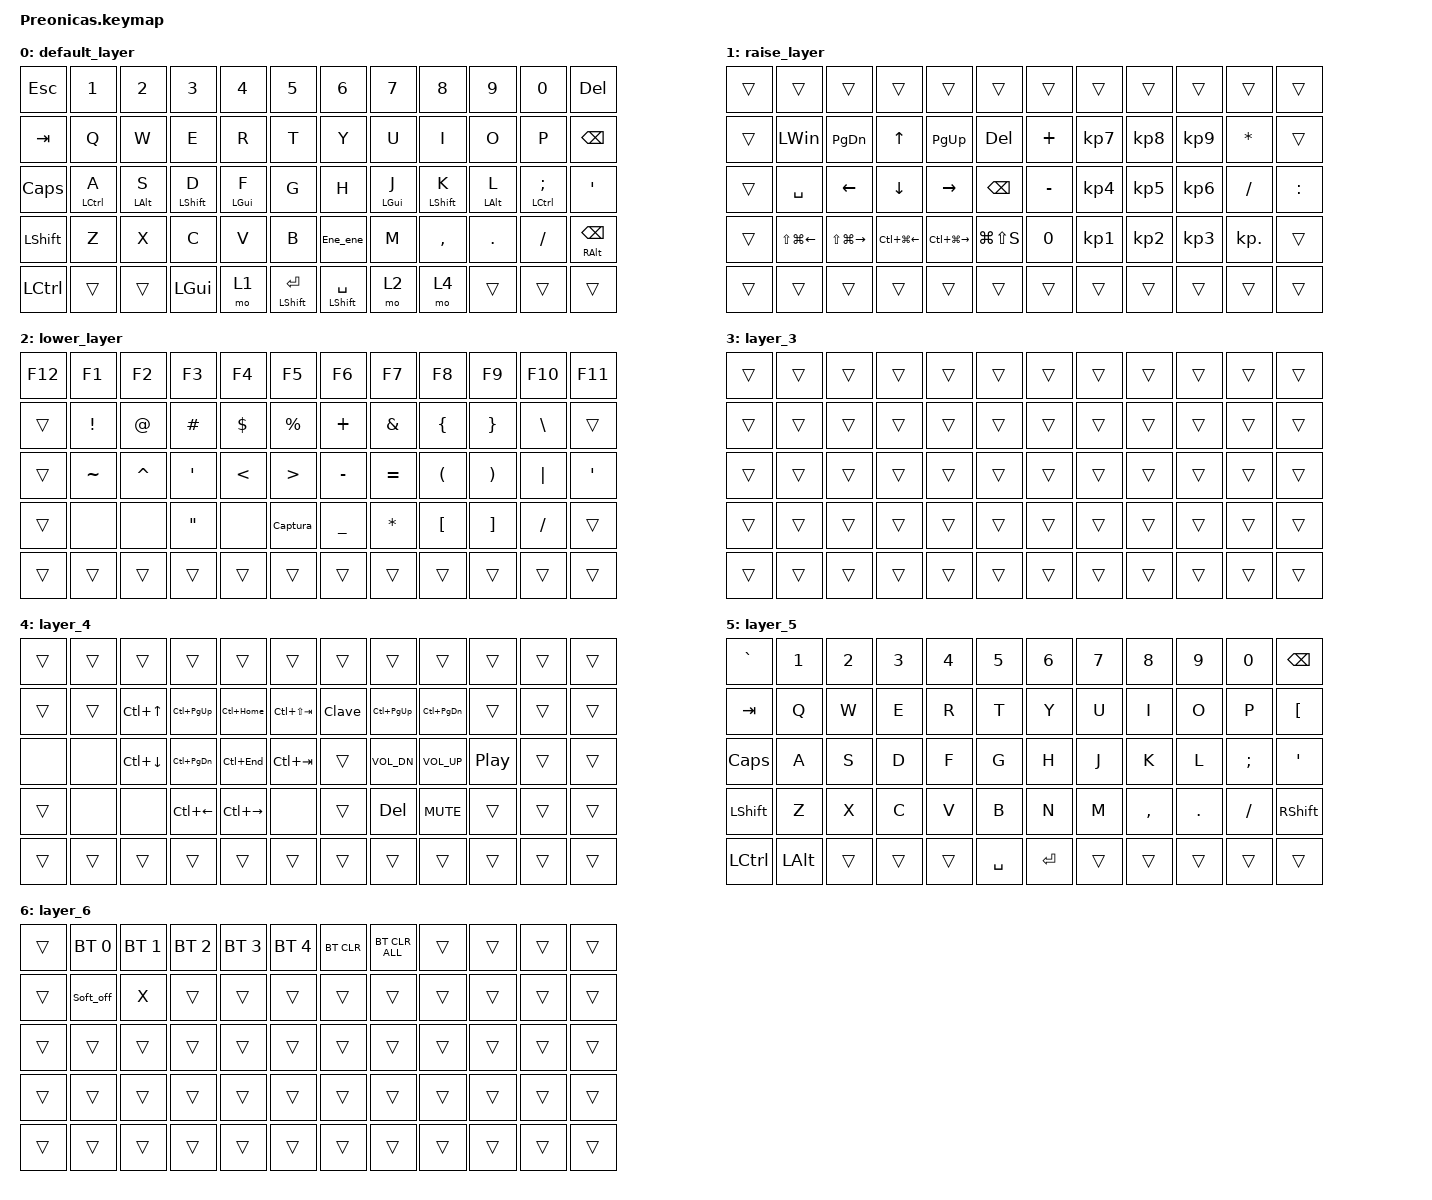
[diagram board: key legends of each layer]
/*
 * Copyright (c) 2021 The ZMK Contributors
 *
 * SPDX-License-Identifier: MIT
 */

#include <behaviors.dtsi>
#include <dt-bindings/zmk/bt.h>
#include <dt-bindings/zmk/keys.h>

&mt {
    tapping-term-ms = <200>;
    quick-tap-ms = <100>;
    bindings = <&kp>, <&kp>;

    flavor = "balanced";
};

/ {
    combos {
        compatible = "zmk,combos";

        Backspace {
            bindings = <&kp BACKSPACE>;
            key-positions = <31 32>;
        };

        Copiar {
            bindings = <&kp LC(C)>;
            key-positions = <14 15>;
        };

        Pegar {
            bindings = <&kp LC(V)>;
            key-positions = <26 27>;
        };

        Cortar {
            bindings = <&kp LC(X)>;
            key-positions = <14 15 16>;
        };

        pegarTex {
            bindings = <&kp LC(LS(V))>;
            key-positions = <26 27 28>;
        };

        Borrar-palabra {
            bindings = <&kp LC(BACKSPACE)>;
            key-positions = <31 32 33>;
        };

        Page-Up {
            bindings = <&kp PAGE_UP>;
            key-positions = <20 21>;
            require-prior-idle-ms = <40>;
        };

        Page-Down {
            bindings = <&kp PAGE_DOWN>;
            key-positions = <44 45>;
            require-prior-idle-ms = <40>;
        };

        Home- {
            bindings = <&kp HOME>;
            key-positions = <19 20 21>;
        };

        End- {
            bindings = <&kp END>;
            key-positions = <43 44 45>;
        };

        delete {
            bindings = <&kp DEL>;
            key-positions = <19 20>;
        };

        togle1 {
            bindings = <&tog 1>;
            key-positions = <13 14 15 16>;
        };
        
        togle5 {
            bindings = <&tog 5>;
            key-positions = <1 2 3 4>;
        };

        Desacer {
            bindings = <&kp LC(Z)>;
            key-positions = <37 38>;
        };

        tabulador {
            bindings = <&kp TAB>;
            key-positions = <27 28>;
        };

        space {
            bindings = <&kp SPACE>;
            key-positions = <39 40>;
        };

    };

    behaviors {
        Ene_ene: Ene_ene {
            compatible = "zmk,behavior-tap-dance";
            label = "ENE_ENE";
            #binding-cells = <0>;
            bindings = <&kp N>, <&kp RA(N)>;
        };

        Hm: Hm {
            compatible = "zmk,behavior-hold-tap";
            label = "HM";
            bindings = <&kp>, <&kp>;

            #binding-cells = <2>;
            tapping-term-ms = <250>;
            quick-tap-ms = <0>;
            flavor = "tap-preferred";
        };

        Soft_off: Soft_off {
            compatible = "zmk,behavior-soft-off";
            label = "SOFT_OFF";
            #binding-cells = <0>;
            hold-time-ms = <500>;
        };
    };

    macros {
        Captura: M1 {
            compatible = "zmk,behavior-macro";
            #binding-cells = <0>;
            bindings = <&kp LG(LS(S))>;
            label = "M1";
        };

        Clave: Clave {
            compatible = "zmk,behavior-macro";
            #binding-cells = <0>;
            bindings =
                <&kp UP_ARROW>,
                <&macro_wait_time 500>,
                <&kp DOWN>,
                <&macro_wait_time 40>,
                <&kp NUMBER_1 &kp N0 &kp NUMBER_7 &kp N9>,
                <&macro_wait_time 500>,
                <&kp ENTER>;

            label = "CLAVE";
        };
    };

    keymap {
        compatible = "zmk,keymap";

        default_layer {
            // ------------------------------------------------------------------------------------------
            // |  ESC  |  1   |  2   |  3   |  4   |  5   |   6   |  7    |  8   |  9   |   0   | BSPC  |
            // |  TAB  |  Q   |  W   |  E   |  R   |  T   |   Y   |  U    |  I   |  O   |   P   |  \    |
            // | SHIFT |  A   |  S   |  D   |  F   |  G   |   H   |  J    |  K   |  L   |   ;   |  '    |
            // | CTRL  |  Z   |  X   |  C   |  V   |  B   |   N   |  M    |  ,   |  .   |   /   | ENTER |
            // |ADJUST | LCTL | LALT | LGUI | LOWR | SPACE| SPACE |  RAIS | LEFT | DOWN | UARW  | RARW  |

            bindings = <
&kp ESCAPE    &kp N1       &kp N2      &kp N3            &kp N4          &kp N5            &kp N6            &kp N7          &kp N8            &kp N9          &kp N0               &kp DEL
&kp TAB       &kp Q        &kp W       &kp E             &kp R           &kp T             &kp Y             &kp U           &kp I             &kp O           &kp P                &kp BACKSPACE
&kp CAPSLOCK  &Hm LCTRL A  &Hm LALT S  &Hm LEFT_SHIFT D  &Hm LEFT_GUI F  &kp G             &kp H             &Hm LEFT_GUI J  &Hm LEFT_SHIFT K  &Hm LEFT_ALT L  &Hm LCTRL SEMICOLON  &kp SQT
&kp LSHFT     &kp Z        &kp X       &kp C             &kp V           &kp B             &Ene_ene          &kp M           &kp COMMA         &kp DOT         &kp FSLH             &mt RIGHT_ALT BACKSPACE
&kp LCTRL     &trans       &trans      &kp LGUI          &mo 1           &mt LSHIFT ENTER  &mt LSHIFT SPACE  &mo 2           &mo 4             &trans          &trans               &trans
            >;
        };

        raise_layer {
            // -------------------------------------------------------------------------------------------
            // |  ESC  |  F2  |  F3  |  F4  |  F5  |  F6  |   F7  |  F8   |  F9  | F10  |  F11  |  F12  |
            // |   ~   |  !   |  @   |  #   |  $   |  %   |   ^   |   &   |  *   |  (   |   )   |  DEL  |
            // |       |  F1  |  F2  |  F3  |  F4  |  F5  |   F6  |   _   |  +   |  {   |   }   |   |   |
            // |       |  F7  |  F8  |  F9  |  F10 |  F11 |   F12 | LS(#) |LS(|) |      |       |       |
            // |       |      |      |      |      |      |       |       | NEXT | Vol- | Vol+ | PLAY   |

            bindings = <
&trans  &trans            &trans                   &trans                  &trans             &trans         &trans     &trans     &trans     &trans     &trans      &trans
&trans  &kp LEFT_WIN      &kp PAGE_DOWN            &kp UP_ARROW            &kp PAGE_UP        &kp DEL        &kp PLUS   &kp KP_N7  &kp KP_N8  &kp KP_N9  &kp ASTRK   &trans
&trans  &kp SPACE         &kp LEFT_ARROW           &kp DOWN_ARROW          &kp RIGHT          &kp BACKSPACE  &kp MINUS  &kp KP_N4  &kp KP_N5  &kp KP_N6  &kp SLASH   &kp COLON
&trans  &kp LS(LG(LEFT))  &kp LS(LG(RIGHT_ARROW))  &kp LC(LG(LEFT_ARROW))  &kp LC(LG(RIGHT))  &kp LG(LS(S))  &kp N0     &kp KP_N1  &kp KP_N2  &kp KP_N3  &kp KP_DOT  &trans
&trans  &trans            &trans                   &trans                  &trans             &trans         &trans     &trans     &trans     &trans     &trans      &trans
            >;
        };

        lower_layer {
            // ------------------------------------------------------------------------------------------
            // |  ESC  |  F2  |  F3  |  F4  |  F5  |  F6  |  F7   |  F8   |  F9  | F10  |  F11  |  F12  |
            // |   ~   |  1   |  2   |  3   |  4   |  5   |  6    |   7   |  8   |  9   |   0   |  DEL  |
            // |  DEL  |  F1  |  F2  |  F3  |  F4  |  F5  |  F6   |   -   |  =   |  [   |   ]   |   \   |
            // |       |  F7  |  F8  |  F9  |  F10 |  F11 |  F12  |   #   |  |   |      |       |       |
            // |       |      |      |      |      |      |       |       |       |      |      |       |

            bindings = <
&kp F12  &kp F1     &kp F2     &kp F3             &kp F4         &kp F5            &kp F6          &kp F7         &kp F8                &kp F9                 &kp F10        &kp F11
&trans   &kp EXCL   &kp AT     &kp HASH           &kp DOLLAR     &kp PERCENT       &kp PLUS        &kp AMPERSAND  &kp LEFT_BRACE        &kp RIGHT_BRACE        &kp BACKSLASH  &trans
&trans   &kp TILDE  &kp CARET  &kp APOS           &kp LESS_THAN  &kp GREATER_THAN  &kp MINUS       &kp EQUAL      &kp LEFT_PARENTHESIS  &kp RIGHT_PARENTHESIS  &kp PIPE       &kp SINGLE_QUOTE
&trans   &none      &none      &kp DOUBLE_QUOTES  &none          &Captura          &kp UNDERSCORE  &kp ASTERISK   &kp LEFT_BRACKET      &kp RIGHT_BRACKET      &kp SLASH      &trans
&trans   &trans     &trans     &trans             &trans         &trans            &trans          &trans         &trans                &trans                 &trans         &trans
            >;
        };

        layer_3 {
            // ----------------------------------------------------------------------------------------------
            // |tog(4) |  F2    |   F3   |   F4   |   F5   |   F6   |  F7  |  F8  |  F9  | F10 | F11 |      |
            // |out tog|BT_SEL 0|BT_SEL 1|BT_SEL 2|BT_SEL 3|BT_SEL 4|BT_PRV|BT_NXT|BT_CLR|     |     |      |
            // |       |        |        |        |        |        |      |      |      |     |     |      |
            // |       |        |        |        |        |        |      |      |      |     |     |      |
            // |       |        |        |        |        |        |      |      |      |     |     |      |

            bindings = <
&trans  &trans        &trans        &trans        &trans        &trans        &trans      &trans          &trans  &trans  &trans  &trans
&trans  &trans        &trans        &trans        &trans        &trans        &trans      &trans          &trans  &trans  &trans  &trans
&trans  &trans        &trans        &trans        &trans        &trans        &trans      &trans          &trans  &trans  &trans  &trans
&trans  &trans        &trans        &trans        &trans        &trans        &trans      &trans          &trans  &trans  &trans  &trans
&trans  &trans        &trans        &trans        &trans        &trans        &trans      &trans          &trans  &trans  &trans  &trans
            >;
        };

        layer_4 {
            bindings = <
&trans  &trans  &trans              &trans             &trans         &trans           &trans  &trans           &trans             &trans            &trans  &trans
&trans  &trans  &kp LC(UP)          &kp LC(PAGE_UP)    &kp LC(HOME)   &kp LC(LS(TAB))  &Clave  &kp LC(PAGE_UP)  &kp LC(PAGE_DOWN)  &trans            &trans  &trans
&none   &none   &kp LC(DOWN_ARROW)  &kp LC(PAGE_DOWN)  &kp LC(END)    &kp LC(TAB)      &trans  &kp C_VOL_DN     &kp C_VOLUME_UP    &kp C_PLAY_PAUSE  &trans  &trans
&trans  &none   &none               &kp LC(LEFT)       &kp LC(RIGHT)  &none            &trans  &kp DEL          &kp C_MUTE         &trans            &trans  &trans
&trans  &trans  &trans              &trans             &trans         &trans           &trans  &trans           &trans             &trans            &trans  &trans
            >;
        };

        layer_5 {
            bindings = <
&kp GRAVE  &kp N1    &kp N2  &kp N3  &kp N4  &kp N5  &kp N6  &kp N7  &kp N8     &kp N9   &kp N0    &kp BSPC
&kp TAB    &kp Q     &kp W   &kp E   &kp R   &kp T   &kp Y   &kp U   &kp I      &kp O    &kp P     &kp LBKT
&kp CAPSLOCK   &kp A     &kp S   &kp D   &kp F   &kp G   &kp H   &kp J   &kp K      &kp L    &kp SEMI  &kp APOS
&kp LSHFT  &kp Z     &kp X   &kp C   &kp V   &kp B   &kp N   &kp M   &kp COMMA  &kp DOT  &kp FSLH  &kp RSHFT
&kp LCTRL  &kp LALT  &trans  &trans  &trans  &kp SPACE  &kp ENTER  &trans  &trans     &trans   &trans    &trans
            >;
        };

        layer_6 {
            bindings = <
&trans  &bt BT_SEL 0  &bt BT_SEL 1  &bt BT_SEL 2  &bt BT_SEL 3  &bt BT_SEL 4  &bt BT_CLR  &bt BT_CLR_ALL  &trans  &trans  &trans  &trans
&trans  &Soft_off     &kp X         &trans        &trans        &trans        &trans      &trans          &trans  &trans  &trans  &trans
&trans  &trans        &trans        &trans        &trans        &trans        &trans      &trans          &trans  &trans  &trans  &trans
&trans  &trans        &trans        &trans        &trans        &trans        &trans      &trans          &trans  &trans  &trans  &trans
&trans  &trans        &trans        &trans        &trans        &trans        &trans      &trans          &trans  &trans  &trans  &trans
            >;
        };
    };

    conditional_layers {
        compatible = "zmk,conditional-layers";

        capa3 {
            if-layers = <1 2>;
            then-layer = <3>;
        };
        capa6 {
            if-layers = <1 4>;
            then-layer = <6>;
        };

    };
};
